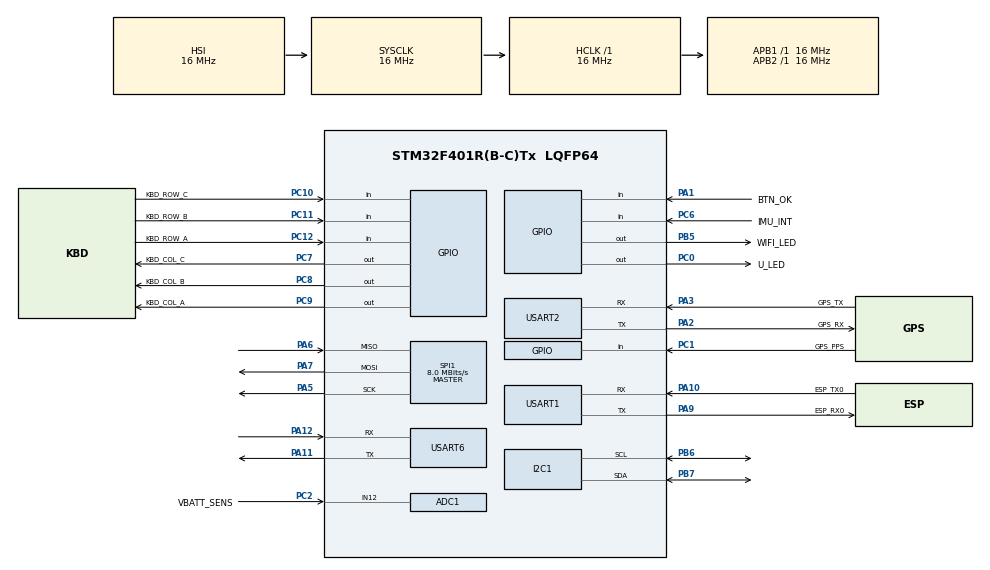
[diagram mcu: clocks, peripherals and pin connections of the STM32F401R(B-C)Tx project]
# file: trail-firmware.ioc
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ADC1.Channel-0\#ChannelRegularConversion=ADC_CHANNEL_12
ADC1.NbrOfConversionFlag=1
ADC1.Rank-0\#ChannelRegularConversion=1
ADC1.SamplingTime-0\#ChannelRegularConversion=ADC_SAMPLETIME_3CYCLES
ADC1.master=1
FREERTOS.Tasks01=defaultTask,0,128,StartDefaultTask,Default,NULL,Dynamic,NULL,NULL
Mcu.Family=STM32F4
Mcu.Name=STM32F401R(B-C)Tx
Mcu.Package=LQFP64
NVIC.PriorityGroup=NVIC_PRIORITYGROUP_4
NVIC.TIM1_UP_TIM10_IRQn=true\:15\:0\:false\:false\:true\:false\:false\:true\:true
NVIC.TimeBase=TIM1_UP_TIM10_IRQn
NVIC.TimeBaseIP=TIM1
PA1.GPIO_Label=BTN_OK
PA1.Signal=GPIO_Input
PA10.GPIO_Label=ESP_TX0
PA10.Mode=Asynchronous
PA10.Signal=USART1_RX
PA11.Mode=Asynchronous
PA11.Signal=USART6_TX
PA12.Mode=Asynchronous
PA12.Signal=USART6_RX
PA13.GPIO_Label=SWDIO
PA13.Mode=Serial_Wire
PA13.Signal=SYS_JTMS-SWDIO
PA14.GPIO_Label=SWCLK
PA14.Mode=Serial_Wire
PA14.Signal=SYS_JTCK-SWCLK
PA2.GPIO_Label=GPS_RX
PA2.Mode=Asynchronous
PA2.Signal=USART2_TX
PA3.GPIO_Label=GPS_TX
PA3.Mode=Asynchronous
PA3.Signal=USART2_RX
PA5.Mode=Full_Duplex_Master
PA5.Signal=SPI1_SCK
PA6.Mode=Full_Duplex_Master
PA6.Signal=SPI1_MISO
PA7.Mode=Full_Duplex_Master
PA7.Signal=SPI1_MOSI
PA9.GPIO_Label=ESP_RX0
PA9.Mode=Asynchronous
PA9.Signal=USART1_TX
PB5.GPIO_Label=WIFI_LED
PB5.Signal=GPIO_Output
PB6.Mode=I2C
PB6.Signal=I2C1_SCL
PB7.Mode=I2C
PB7.Signal=I2C1_SDA
PC0.GPIO_Label=U_LED
PC0.Signal=GPIO_Output
PC1.GPIO_Label=GPS_PPS
PC1.Signal=GPIO_Input
PC10.GPIO_Label=KBD_ROW_C
PC10.GPIO_PuPd=GPIO_PULLUP
PC10.Signal=GPIO_Input
PC11.GPIO_Label=KBD_ROW_B
PC11.GPIO_PuPd=GPIO_PULLUP
PC11.Signal=GPIO_Input
PC12.GPIO_Label=KBD_ROW_A
PC12.GPIO_PuPd=GPIO_PULLUP
PC12.Signal=GPIO_Input
PC2.GPIO_Label=VBATT_SENS
PC2.Signal=ADCx_IN12
PC6.GPIO_Label=IMU_INT
PC6.Signal=GPIO_Input
PC7.GPIO_Label=KBD_COL_C
PC7.Signal=GPIO_Output
PC8.GPIO_Label=KBD_COL_B
PC8.Signal=GPIO_Output
PC9.GPIO_Label=KBD_COL_A
PC9.Signal=GPIO_Output
PH0\ -\ OSC_IN.Mode=HSE-External-Oscillator
PH0\ -\ OSC_IN.Signal=RCC_OSC_IN
PH1\ -\ OSC_OUT.Mode=HSE-External-Oscillator
PH1\ -\ OSC_OUT.Signal=RCC_OSC_OUT
ProjectManager.HeapSize=0x200
ProjectManager.StackSize=0x400
ProjectManager.TargetToolchain=STM32CubeIDE
RCC.AHBFreq_Value=16000000
RCC.APB1Freq_Value=16000000
RCC.APB2Freq_Value=16000000
RCC.CortexFreq_Value=16000000
RCC.HSE_VALUE=25000000
RCC.HSI_VALUE=16000000
RCC.LSE_VALUE=32768
RCC.SYSCLKFreq_VALUE=16000000
RCC.VCOOutputFreq_Value=192000000
SH.ADCx_IN12.0=ADC1_IN12,IN12
SPI1.CalculateBaudRate=8.0 MBits/s
SPI1.Direction=SPI_DIRECTION_2LINES
SPI1.Mode=SPI_MODE_MASTER
SPI1.VirtualType=VM_MASTER
USART1.VirtualMode=VM_ASYNC
USART2.VirtualMode=VM_ASYNC
USART6.VirtualMode=VM_ASYNC
VP_FREERTOS_VS_CMSIS_V1.Mode=CMSIS_V1
VP_SYS_VS_tim1.Mode=TIM1
board=custom

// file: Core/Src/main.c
/* USER CODE BEGIN Header */
/**
  ******************************************************************************
  * @file           : main.c
  * @brief          : Main program body
  ******************************************************************************
  * @attention
  *
  * Copyright (c) 2025 STMicroelectronics.
  * All rights reserved.
  *
  * This software is licensed under terms that can be found in the LICENSE file
  * in the root directory of this software component.
  * If no LICENSE file comes with this software, it is provided AS-IS.
  *
  ******************************************************************************
  */
/* USER CODE END Header */
#include "main.h"
#include "cmsis_os.h"

/* USER CODE BEGIN Includes */
#include "string.h"
#include "stdio.h"
#include "stdlib.h"
#include "config.h"
#include "globals.h"
#include "state-machine.h"

/* USER CODE END Includes */

ADC_HandleTypeDef hadc1;

I2C_HandleTypeDef hi2c1;

SPI_HandleTypeDef hspi1;

UART_HandleTypeDef huart1;
UART_HandleTypeDef huart2;
UART_HandleTypeDef huart6;

osThreadId defaultTaskHandle;
/* USER CODE BEGIN PV */

/**
 * Private task handles
 */
osThreadId xTaskReadGPSHandle;				/*!< Task to read GPS */
osThreadId xTaskReadIMUHandle;				/*!< Task to read IMU */
osThreadId xTaskReadCompassHandle;			/*!< Task to read compass */
osThreadId xTaskReadBMPHandle;				/*!< Task to read BMP */
osThreadId xTaskReadESPWIFIHandle;			/*!< Task to read ESP serial data */
osThreadId xTaskSensorFusionHandle;			/*!< Task to perform sensor fusion */
osThreadId xTaskDisplayUpdateHandle;		/*!< Task to update the display */
osThreadId xTaskReadKeypadHandle;			/*!< Task to read keypad button */
osThreadId xTaskLEDsUpdateHandle;			/*!< Task to read update LEDs */

/* USER CODE END PV */

void SystemClock_Config(void);
static void MX_GPIO_Init(void);
static void MX_USART2_UART_Init(void);
static void MX_USART1_UART_Init(void);
static void MX_I2C1_Init(void);
static void MX_USART6_UART_Init(void);
static void MX_SPI1_Init(void);
static void MX_ADC1_Init(void);
void StartDefaultTask(void const * argument);

/* USER CODE BEGIN PFP */

/**
 * Create the task function prototypes
 */
void xTaskReadGPS(void const* pvParamaters);
void xTaskReadIMU(void const* pvParameters);
void xTaskReadCompass(void const* pvParameters);
void xTaskReadBMP(void const* pvParameters);
void xTaskReadESPWIFI(void const* pvParameters);
void xTaskSensorFusion(void const* pvParameters);
void xTaskDisplayUpdate(void const* pvParameters);
void xTaskReadKeypad(void const* pvParameters);
void xTaskLEDsUpdate(void const* pvParameters);

/* USER CODE END PFP */

/* USER CODE BEGIN 0 */

uint8_t activate_wifi = 1;

/* initial system state */
state_type_t wifi_sm_state = STATE_WIFI_CONNECT;

/* USER CODE END 0 */

int main(void)
{

  /* MCU Configuration--------------------------------------------------------*/

  /* Reset of all peripherals, Initializes the Flash interface and the Systick. */
  HAL_Init();

  /* Configure the system clock */
  SystemClock_Config();

  /* Initialize all configured peripherals */
  MX_GPIO_Init();
  MX_USART2_UART_Init();
  MX_USART1_UART_Init();
  MX_I2C1_Init();
  MX_USART6_UART_Init();
  MX_SPI1_Init();
  MX_ADC1_Init();

  /* Create the thread(s) */
  /* definition and creation of defaultTask */
  osThreadDef(defaultTask, StartDefaultTask, osPriorityNormal, 0, 128);
  defaultTaskHandle = osThreadCreate(osThread(defaultTask), NULL);

  /* USER CODE BEGIN RTOS_THREADS */
  /* add threads, ... */

  /* tasks creation */
  osThreadDef(xTaskReadESP, xTaskReadESPWIFI, osPriorityNormal, 0, 128);
  xTaskReadESPWIFIHandle = osThreadCreate(osThread(xTaskReadESP), NULL);

  /* USER CODE END RTOS_THREADS */

  /* Start scheduler */
  osKernelStart();

  /* We should never get here as control is now taken by the scheduler */

  /* Infinite loop */
  while (1)
  {

    /* USER CODE BEGIN 3 */
	  HAL_GPIO_TogglePin(U_LED_GPIO_Port, U_LED_Pin);
	  HAL_Delay(700);

  }
  /* USER CODE END 3 */
}

void SystemClock_Config(void)
{
  RCC_OscInitTypeDef RCC_OscInitStruct = {0};
  RCC_ClkInitTypeDef RCC_ClkInitStruct = {0};

  /** Configure the main internal regulator output voltage
  */
  __HAL_RCC_PWR_CLK_ENABLE();
  __HAL_PWR_VOLTAGESCALING_CONFIG(PWR_REGULATOR_VOLTAGE_SCALE2);

  /** Initializes the RCC Oscillators according to the specified parameters
  * in the RCC_OscInitTypeDef structure.
  */
  RCC_OscInitStruct.OscillatorType = RCC_OSCILLATORTYPE_HSI;
  RCC_OscInitStruct.HSIState = RCC_HSI_ON;
  RCC_OscInitStruct.HSICalibrationValue = RCC_HSICALIBRATION_DEFAULT;
  RCC_OscInitStruct.PLL.PLLState = RCC_PLL_NONE;
  if (HAL_RCC_OscConfig(&RCC_OscInitStruct) != HAL_OK)
  {
    Error_Handler();
  }

  /** Initializes the CPU, AHB and APB buses clocks
  */
  RCC_ClkInitStruct.ClockType = RCC_CLOCKTYPE_HCLK|RCC_CLOCKTYPE_SYSCLK
                              |RCC_CLOCKTYPE_PCLK1|RCC_CLOCKTYPE_PCLK2;
  RCC_ClkInitStruct.SYSCLKSource = RCC_SYSCLKSOURCE_HSI;
  RCC_ClkInitStruct.AHBCLKDivider = RCC_SYSCLK_DIV1;
  RCC_ClkInitStruct.APB1CLKDivider = RCC_HCLK_DIV1;
  RCC_ClkInitStruct.APB2CLKDivider = RCC_HCLK_DIV1;

  if (HAL_RCC_ClockConfig(&RCC_ClkInitStruct, FLASH_LATENCY_0) != HAL_OK)
  {
    Error_Handler();
  }
}

static void MX_ADC1_Init(void)
{

  ADC_ChannelConfTypeDef sConfig = {0};

  /** Configure the global features of the ADC (Clock, Resolution, Data Alignment and number of conversion)
  */
  hadc1.Instance = ADC1;
  hadc1.Init.ClockPrescaler = ADC_CLOCK_SYNC_PCLK_DIV2;
  hadc1.Init.Resolution = ADC_RESOLUTION_12B;
  hadc1.Init.ScanConvMode = DISABLE;
  hadc1.Init.ContinuousConvMode = DISABLE;
  hadc1.Init.DiscontinuousConvMode = DISABLE;
  hadc1.Init.ExternalTrigConvEdge = ADC_EXTERNALTRIGCONVEDGE_NONE;
  hadc1.Init.ExternalTrigConv = ADC_SOFTWARE_START;
  hadc1.Init.DataAlign = ADC_DATAALIGN_RIGHT;
  hadc1.Init.NbrOfConversion = 1;
  hadc1.Init.DMAContinuousRequests = DISABLE;
  hadc1.Init.EOCSelection = ADC_EOC_SINGLE_CONV;
  if (HAL_ADC_Init(&hadc1) != HAL_OK)
  {
    Error_Handler();
  }

  /** Configure for the selected ADC regular channel its corresponding rank in the sequencer and its sample time.
  */
  sConfig.Channel = ADC_CHANNEL_12;
  sConfig.Rank = 1;
  sConfig.SamplingTime = ADC_SAMPLETIME_3CYCLES;
  if (HAL_ADC_ConfigChannel(&hadc1, &sConfig) != HAL_OK)
  {
    Error_Handler();
  }

}

static void MX_I2C1_Init(void)
{

  hi2c1.Instance = I2C1;
  hi2c1.Init.ClockSpeed = 100000;
  hi2c1.Init.DutyCycle = I2C_DUTYCYCLE_2;
  hi2c1.Init.OwnAddress1 = 0;
  hi2c1.Init.AddressingMode = I2C_ADDRESSINGMODE_7BIT;
  hi2c1.Init.DualAddressMode = I2C_DUALADDRESS_DISABLE;
  hi2c1.Init.OwnAddress2 = 0;
  hi2c1.Init.GeneralCallMode = I2C_GENERALCALL_DISABLE;
  hi2c1.Init.NoStretchMode = I2C_NOSTRETCH_DISABLE;
  if (HAL_I2C_Init(&hi2c1) != HAL_OK)
  {
    Error_Handler();
  }

}

static void MX_SPI1_Init(void)
{

  /* SPI1 parameter configuration*/
  hspi1.Instance = SPI1;
  hspi1.Init.Mode = SPI_MODE_MASTER;
  hspi1.Init.Direction = SPI_DIRECTION_2LINES;
  hspi1.Init.DataSize = SPI_DATASIZE_8BIT;
  hspi1.Init.CLKPolarity = SPI_POLARITY_LOW;
  hspi1.Init.CLKPhase = SPI_PHASE_1EDGE;
  hspi1.Init.NSS = SPI_NSS_SOFT;
  hspi1.Init.BaudRatePrescaler = SPI_BAUDRATEPRESCALER_2;
  hspi1.Init.FirstBit = SPI_FIRSTBIT_MSB;
  hspi1.Init.TIMode = SPI_TIMODE_DISABLE;
  hspi1.Init.CRCCalculation = SPI_CRCCALCULATION_DISABLE;
  hspi1.Init.CRCPolynomial = 10;
  if (HAL_SPI_Init(&hspi1) != HAL_OK)
  {
    Error_Handler();
  }

}

static void MX_USART1_UART_Init(void)
{

  huart1.Instance = USART1;
  huart1.Init.BaudRate = 115200;
  huart1.Init.WordLength = UART_WORDLENGTH_8B;
  huart1.Init.StopBits = UART_STOPBITS_1;
  huart1.Init.Parity = UART_PARITY_NONE;
  huart1.Init.Mode = UART_MODE_TX_RX;
  huart1.Init.HwFlowCtl = UART_HWCONTROL_NONE;
  huart1.Init.OverSampling = UART_OVERSAMPLING_16;
  if (HAL_UART_Init(&huart1) != HAL_OK)
  {
    Error_Handler();
  }

}

static void MX_USART2_UART_Init(void)
{

  huart2.Instance = USART2;
  huart2.Init.BaudRate = 115200;
  huart2.Init.WordLength = UART_WORDLENGTH_8B;
  huart2.Init.StopBits = UART_STOPBITS_1;
  huart2.Init.Parity = UART_PARITY_NONE;
  huart2.Init.Mode = UART_MODE_TX_RX;
  huart2.Init.HwFlowCtl = UART_HWCONTROL_NONE;
  huart2.Init.OverSampling = UART_OVERSAMPLING_16;
  if (HAL_UART_Init(&huart2) != HAL_OK)
  {
    Error_Handler();
  }

}

static void MX_USART6_UART_Init(void)
{

  huart6.Instance = USART6;
  huart6.Init.BaudRate = 115200;
  huart6.Init.WordLength = UART_WORDLENGTH_8B;
  huart6.Init.StopBits = UART_STOPBITS_1;
  huart6.Init.Parity = UART_PARITY_NONE;
  huart6.Init.Mode = UART_MODE_TX_RX;
  huart6.Init.HwFlowCtl = UART_HWCONTROL_NONE;
  huart6.Init.OverSampling = UART_OVERSAMPLING_16;
  if (HAL_UART_Init(&huart6) != HAL_OK)
  {
    Error_Handler();
  }

}

static void MX_GPIO_Init(void)
{
  GPIO_InitTypeDef GPIO_InitStruct = {0};

  /* GPIO Ports Clock Enable */
  __HAL_RCC_GPIOH_CLK_ENABLE();
  __HAL_RCC_GPIOC_CLK_ENABLE();
  __HAL_RCC_GPIOA_CLK_ENABLE();
  __HAL_RCC_GPIOB_CLK_ENABLE();

  /*Configure GPIO pin Output Level */
  HAL_GPIO_WritePin(GPIOC, U_LED_Pin|KBD_COL_C_Pin|KBD_COL_B_Pin|KBD_COL_A_Pin, GPIO_PIN_RESET);

  /*Configure GPIO pin Output Level */
  HAL_GPIO_WritePin(WIFI_LED_GPIO_Port, WIFI_LED_Pin, GPIO_PIN_RESET);

  /*Configure GPIO pins : U_LED_Pin KBD_COL_C_Pin KBD_COL_B_Pin KBD_COL_A_Pin */
  GPIO_InitStruct.Pin = U_LED_Pin|KBD_COL_C_Pin|KBD_COL_B_Pin|KBD_COL_A_Pin;
  GPIO_InitStruct.Mode = GPIO_MODE_OUTPUT_PP;
  GPIO_InitStruct.Pull = GPIO_NOPULL;
  GPIO_InitStruct.Speed = GPIO_SPEED_FREQ_LOW;
  HAL_GPIO_Init(GPIOC, &GPIO_InitStruct);

  /*Configure GPIO pins : GPS_PPS_Pin IMU_INT_Pin */
  GPIO_InitStruct.Pin = GPS_PPS_Pin|IMU_INT_Pin;
  GPIO_InitStruct.Mode = GPIO_MODE_INPUT;
  GPIO_InitStruct.Pull = GPIO_NOPULL;
  HAL_GPIO_Init(GPIOC, &GPIO_InitStruct);

  /*Configure GPIO pin : BTN_OK_Pin */
  GPIO_InitStruct.Pin = BTN_OK_Pin;
  GPIO_InitStruct.Mode = GPIO_MODE_INPUT;
  GPIO_InitStruct.Pull = GPIO_NOPULL;
  HAL_GPIO_Init(BTN_OK_GPIO_Port, &GPIO_InitStruct);

  /*Configure GPIO pins : KBD_ROW_C_Pin KBD_ROW_B_Pin KBD_ROW_A_Pin */
  GPIO_InitStruct.Pin = KBD_ROW_C_Pin|KBD_ROW_B_Pin|KBD_ROW_A_Pin;
  GPIO_InitStruct.Mode = GPIO_MODE_INPUT;
  GPIO_InitStruct.Pull = GPIO_PULLUP;
  HAL_GPIO_Init(GPIOC, &GPIO_InitStruct);

  /*Configure GPIO pin : WIFI_LED_Pin */
  GPIO_InitStruct.Pin = WIFI_LED_Pin;
  GPIO_InitStruct.Mode = GPIO_MODE_OUTPUT_PP;
  GPIO_InitStruct.Pull = GPIO_NOPULL;
  GPIO_InitStruct.Speed = GPIO_SPEED_FREQ_LOW;
  HAL_GPIO_Init(WIFI_LED_GPIO_Port, &GPIO_InitStruct);

}

/* USER CODE BEGIN 4 */

/**
  * @brief  This task is used to monitor for button presses
  * @retval None
  */
void ButtonCheckTask(void* pvParameters) {

	while (1) {

	}
}

/**
 * @brief This task reads the data received from ESP32 and extracts the WIFI state
 *
 */
void xTaskReadESPWIFI(void const *pvParameters) {
	uint8_t uart1_rx_buffer[RECEIVED_WIFI_STATE_LENGTH];
	char wifi_state[RECEIVED_WIFI_STATE_LENGTH];

	for(;;) {

//		/* receive state from ESP32 */
//		HAL_StatusTypeDef status = HAL_UART_Receive(&huart1, uart1_rx_buffer, sizeof(uart1_rx_buffer), 200);
//
//		if(status == HAL_OK) {
//
//			/* convert received byte array to char */
//			for(size_t i = 0; i < sizeof(uart1_rx_buffer); i++) {
//				wifi_state[i] = (char) uart1_rx_buffer[i];
//			}
//
//			if((strcmp(wifi_state, '0') == 0) {
//				/* state is WIFI_PROVISION_REQUEST */
//				wifi_sm_state = STATE;
//			}
//
//
//			HAL_UART_Transmit(&huart6, (uint8_t*)wifi_state , sizeof(wifi_state), 100);
//
//		} else {
//			HAL_UART_Transmit(&huart6, (uint8_t*)"Timeout\r\n", sizeof("Timeout\r\n"), 100);
//		}

		vTaskDelay(pdMS_TO_TICKS(5)); /* prevent task starvation */

	}
}

/* USER CODE END 4 */

void StartDefaultTask(void const * argument)
{
  for(;;)
  {
    osDelay(1);
  }
}

void HAL_TIM_PeriodElapsedCallback(TIM_HandleTypeDef *htim)
{
  if (htim->Instance == TIM1)
  {
    HAL_IncTick();
  }
}

void Error_Handler(void)
{
  __disable_irq();
  while (1)
  {
  }
}
